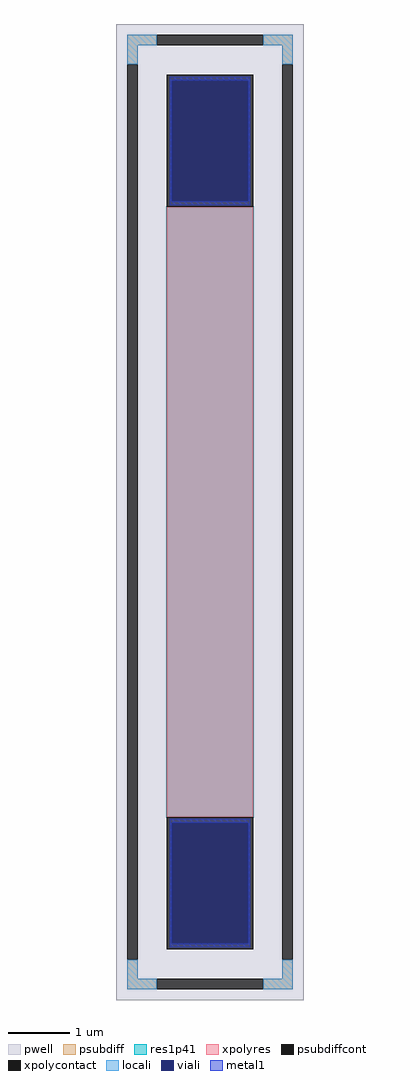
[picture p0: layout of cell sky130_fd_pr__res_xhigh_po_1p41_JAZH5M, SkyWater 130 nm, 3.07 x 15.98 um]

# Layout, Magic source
magic
tech sky130A
magscale 1 2
<< pwell >>
rect -307 -1598 307 1598
<< psubdiff >>
rect -271 1528 -175 1562
rect 175 1528 271 1562
rect -271 1466 -237 1528
rect 237 1466 271 1528
rect -271 -1528 -237 -1466
rect 237 -1528 271 -1466
rect -271 -1562 -175 -1528
rect 175 -1562 271 -1528
<< psubdiffcont >>
rect -175 1528 175 1562
rect -271 -1466 -237 1466
rect 237 -1466 271 1466
rect -175 -1562 175 -1528
<< xpolycontact >>
rect -141 1000 141 1432
rect -141 -1432 141 -1000
<< xpolyres >>
rect -141 -1000 141 1000
<< locali >>
rect -271 1528 -175 1562
rect 175 1528 271 1562
rect -271 1466 -237 1528
rect 237 1466 271 1528
rect -271 -1528 -237 -1466
rect 237 -1528 271 -1466
rect -271 -1562 -175 -1528
rect 175 -1562 271 -1528
<< viali >>
rect -125 1017 125 1414
rect -125 -1414 125 -1017
<< metal1 >>
rect -131 1414 131 1426
rect -131 1017 -125 1414
rect 125 1017 131 1414
rect -131 1005 131 1017
rect -131 -1017 131 -1005
rect -131 -1414 -125 -1017
rect 125 -1414 131 -1017
rect -131 -1426 131 -1414
<< res1p41 >>
rect -143 -1002 143 1002
<< properties >>
string FIXED_BBOX -254 -1545 254 1545
string gencell sky130_fd_pr__res_xhigh_po_1p41
string library sky130
string parameters w 1.410 l 10 m 1 nx 1 wmin 1.410 lmin 0.50 rho 2000 val 14.451k dummy 0 dw 0.0 term 188.2 sterm 0.0 caplen 0 wmax 1.410 guard 1 glc 1 grc 1 gtc 1 gbc 1 compatible {sky130_fd_pr__res_xhigh_po_0p35  sky130_fd_pr__res_xhigh_po_0p69 sky130_fd_pr__res_xhigh_po_1p41  sky130_fd_pr__res_xhigh_po_2p85 sky130_fd_pr__res_xhigh_po_5p73} full_metal 1 n_guard 0 hv_guard 0 vias 1 viagb 0 viagt 0 viagl 0 viagr 0
<< end >>
